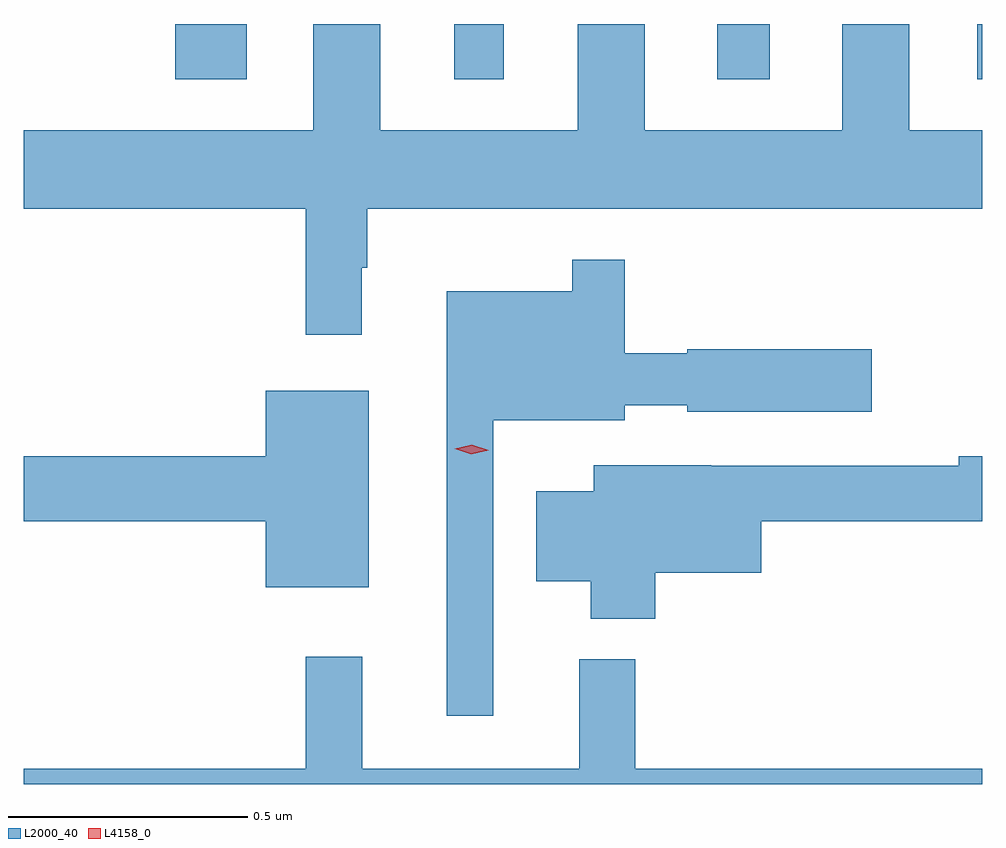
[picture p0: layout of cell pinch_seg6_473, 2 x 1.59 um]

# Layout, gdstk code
import gdstk
lib = gdstk.Library(unit=1e-6, precision=1e-09)
def R(c, l, rs):  # rectangles x0, y0, x1, y1
    for r in rs: c.add(gdstk.rectangle(r[:2], r[2:], *l))
def P(c, l, *ps):  # polygons
    for p in ps: c.add(gdstk.Polygon(p, *l))
L2000_40 = (2000, 40)
L4158_0 = (4158, 0)

pinch_seg6_473 = lib.new_cell('pinch_seg6_473')
R(pinch_seg6_473, L2000_40, [(794.315,916.971,794.464,917.086), (794.897,916.971,795.001,917.086), (795.446,916.971,795.556,917.086), (795.989,916.971,795.999,917.086)])
P(pinch_seg6_473, L2000_40, [(794.704,916.577),(794.716,916.577),(794.716,916.7),(795.999,916.7),(795.999,916.864),(795.847,916.864),(795.847,917.086),(795.707,917.086),(795.707,916.864),(795.295,916.864),(795.295,917.086),(795.155,917.086),(795.155,916.864),(794.743,916.864),(794.743,917.086),(794.603,917.086),(794.603,916.864),(793.999,916.864),(793.999,916.7),(794.587,916.7),(794.587,916.437),(794.704,916.437)],
  [(794.979,916.259),(795.253,916.259),(795.253,916.29),(795.384,916.29),(795.384,916.277),(795.769,916.277),(795.769,916.407),(795.384,916.407),(795.384,916.399),(795.253,916.399),(795.253,916.594),(795.144,916.594),(795.144,916.528),(794.882,916.528),(794.882,915.642),(794.979,915.642)],
  [(794.719,916.321),(794.504,916.321),(794.504,916.184),(793.999,916.184),(793.999,916.048),(794.504,916.048),(794.504,915.911),(794.719,915.911)],
  [(795.317,915.941),(795.538,915.941),(795.538,916.048),(795.999,916.048),(795.999,916.184),(795.95,916.184),(795.95,916.164),(795.434,916.164),(795.434,916.165),(795.188,916.165),(795.188,916.111),(795.068,916.111),(795.068,915.923),(795.182,915.923),(795.182,915.845),(795.317,915.845)],
  [(795.999,915.532),(795.275,915.532),(795.275,915.76),(795.158,915.76),(795.158,915.532),(794.705,915.532),(794.705,915.766),(794.587,915.766),(794.587,915.532),(793.999,915.532),(793.999,915.5),(795.999,915.5)])
P(pinch_seg6_473, L4158_0, [(794.933,916.188),(794.898,916.2),(794.898,916.2),(794.898,916.2),(794.934,916.208),(794.969,916.196),(794.969,916.196),(794.969,916.196)])

lib.write_gds('pinch_seg6_473.gds')
